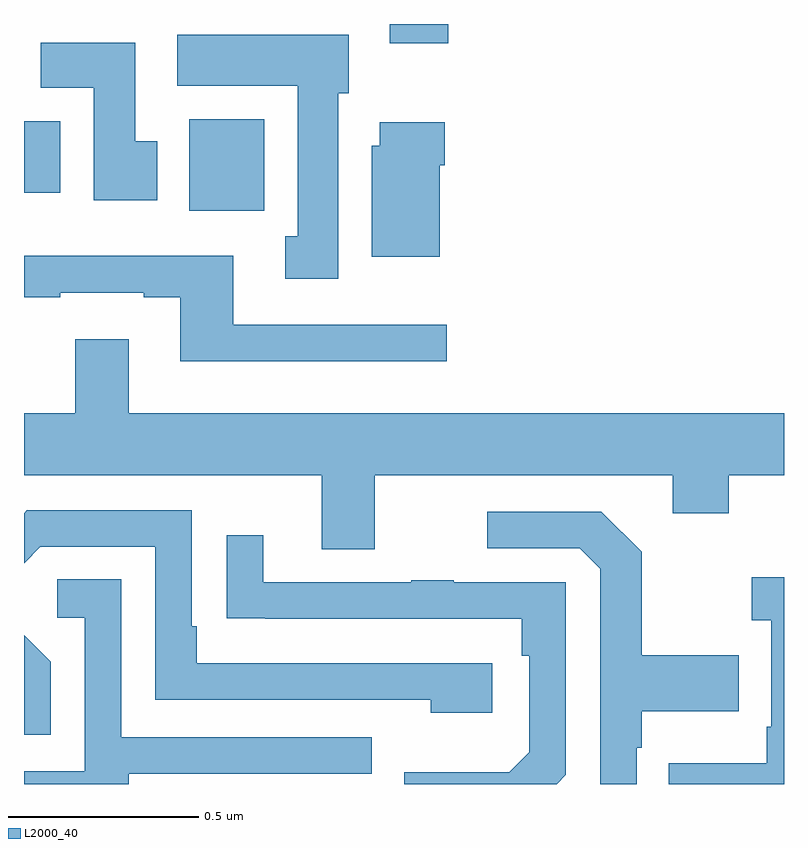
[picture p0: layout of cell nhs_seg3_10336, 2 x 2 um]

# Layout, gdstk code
import gdstk
lib = gdstk.Library(unit=1e-6, precision=1e-09)
def R(c, l, rs):  # rectangles x0, y0, x1, y1
    for r in rs: c.add(gdstk.rectangle(r[:2], r[2:], *l))
def P(c, l, *ps):  # polygons
    for p in ps: c.add(gdstk.Polygon(p, *l))
L2000_40 = (2000, 40)

nhs_seg3_10336 = lib.new_cell('nhs_seg3_10336')
R(nhs_seg3_10336, L2000_40, [(239.435,738.908,239.632,739.15), (239,738.956,239.095,739.144), (239.963,739.35,240.116,739.4)])
P(nhs_seg3_10336, L2000_40, [(239.827,739.218),(239.854,739.218),(239.854,739.372),(239.403,739.372),(239.403,739.238),(239.72,739.238),(239.72,738.842),(239.687,738.842),(239.687,738.729),(239.827,738.729)],
  [(239.35,739.092),(239.293,739.092),(239.293,739.351),(239.044,739.351),(239.044,739.232),(239.183,739.232),(239.183,738.936),(239.35,738.936)],
  [(240.094,739.028),(240.107,739.028),(240.107,739.141),(239.936,739.141),(239.936,739.08),(239.915,739.08),(239.915,738.788),(240.094,738.788)],
  [(240.112,738.609),(239.551,738.609),(239.551,738.79),(239,738.79),(239,738.681),(239.095,738.681),(239.095,738.693),(239.315,738.693),(239.315,738.681),(239.411,738.681),(239.411,738.512),(240.112,738.512)],
  [(239.923,738.212),(240.707,738.212),(240.707,738.113),(240.855,738.113),(240.855,738.212),(241,738.212),(241,738.376),(239.275,738.376),(239.275,738.571),(239.135,738.571),(239.135,738.376),(239,738.376),(239,738.212),(239.783,738.212),(239.783,738.018),(239.923,738.018)],
  [(240.232,737.718),(239.455,737.718),(239.455,737.815),(239.442,737.815),(239.442,738.12),(239.007,738.12),(239,738.113),(239,737.981),(239.043,738.024),(239.346,738.024),(239.346,737.622),(240.071,737.622),(240.071,737.588),(240.232,737.588)],
  [(240.612,737.495),(240.625,737.495),(240.625,737.591),(240.881,737.591),(240.881,737.739),(240.625,737.739),(240.625,738.011),(240.519,738.117),(240.219,738.117),(240.219,738.021),(240.462,738.021),(240.516,737.967),(240.516,737.4),(240.612,737.4)],
  [(240.426,737.424),(240.426,737.931),(240.131,737.931),(240.131,737.936),(240.019,737.936),(240.019,737.931),(239.629,737.931),(239.629,738.055),(239.533,738.055),(239.533,737.836),(239.635,737.836),(239.635,737.835),(240.31,737.835),(240.31,737.738),(240.33,737.738),(240.33,737.484),(240.277,737.431),(240,737.431),(240,737.4),(240.402,737.4)],
  [(241,737.944),(240.915,737.944),(240.915,737.831),(240.966,737.831),(240.966,737.551),(240.954,737.551),(240.954,737.455),(240.697,737.455),(240.697,737.4),(241,737.4)],
  [(239.275,737.427),(239.915,737.427),(239.915,737.523),(239.256,737.523),(239.256,737.939),(239.088,737.939),(239.088,737.838),(239.16,737.838),(239.16,737.433),(239,737.433),(239,737.4),(239.275,737.4)],
  [(239.07,737.722),(239,737.792),(239,737.529),(239.07,737.529)])

lib.write_gds('nhs_seg3_10336.gds')
